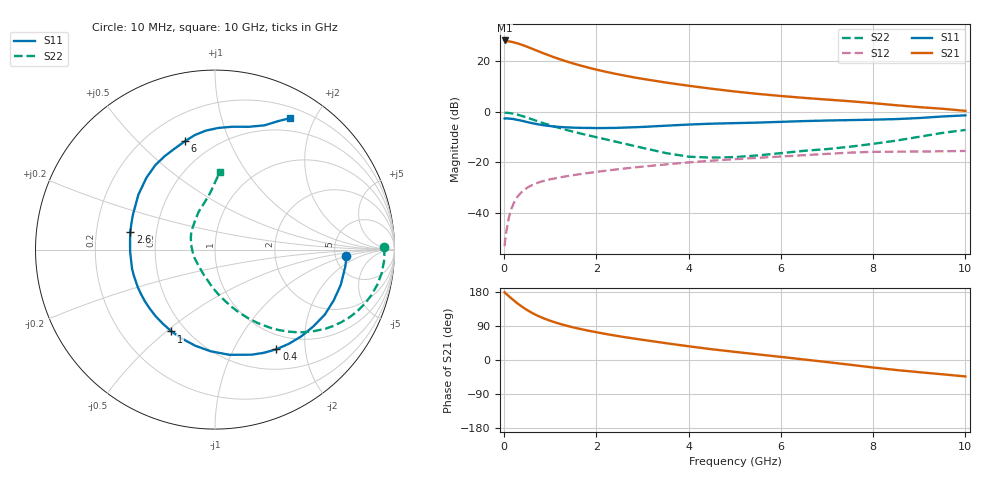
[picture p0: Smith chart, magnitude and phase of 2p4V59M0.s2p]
! (c) 2009  Infineon Technologies AG, Munich
! Infineon Technologies  Discrete & RF Semiconductors
! BFP420
! VCE =  4.5 V,  IC =  9.0 mA
! Common Emitter S-Parameters:  Nov 2009
# GHz  S  MA  R  50
!  f  S11  S21  S12  S22
! GHz  MAG  ANG  MAG  ANG  MAG  ANG  MAG  ANG
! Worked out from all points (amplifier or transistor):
!   46 points, 10 MHz to 10 GHz, reference 50 ohm
!   highest |S21| = 28.1 dB at 10 MHz (marker M1)
!   |S21| within 3 dB of that: start of sweep to 569.1 MHz
!   unconditionally stable (mu >= 1): start of sweep to 19.03 MHz; 2.469 GHz to end of sweep
!   at 300 MHz: K = 0.27, MSG = 30.1 dB, |S12| = -33.4 dB
!   at 1.7 GHz: K = 0.79, MSG = 21.3 dB, |S12| = -24.6 dB
!   at 10 GHz: K = 1.09, MAG = 6.1 dB, |S12| = -15.6 dB
!   S11 on the Smith chart (normalised r, x): 10 MHz: 6.20, -0.97; 400 MHz: 0.77, -1.50; 1 GHz: 0.42, -0.52; 2.6 GHz: 0.35, +0.09; 6 GHz: 0.35, +0.70; 10 GHz: 0.33, +1.67
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0.01  0.7282 -2.9  25.32 178.7  0.0022 4.0  0.9401 0.8
0.02  0.7335 -2.9  24.62 177.2  0.0028 31.0  0.9441 -1.4
0.1  0.7278 -15.6  24.3 168.6  0.0079 66.0  0.9377 -8.2
0.2  0.7111 -30.6  23.36 158.2  0.0149 67.6  0.9077 -16.2
0.3  0.6819 -45.1  22.05 148.4  0.0214 64.1  0.8635 -23.5
0.4  0.6522 -58.4  20.55 139.6  0.0268 60.1  0.8116 -29.9
0.5  0.6203 -70.7  18.98 131.7  0.0314 56.5  0.7574 -35.6
0.6  0.5918 -82.1  17.47 124.6  0.0352 53.3  0.7052 -40.4
0.7  0.5672 -92.4  16.06 118.4  0.0384 50.7  0.656 -44.7
0.8  0.547 -101.5  14.75 112.9  0.0412 48.6  0.6116 -48.3
1  0.5163 -118.0  12.58 103.5  0.0459 45.5  0.5349 -54.6
1.3  0.4901 -137.8  10.11 92.3  0.0519 42.7  0.4464 -62.1
1.7  0.4755 -158.5  7.902 80.6  0.0591 40.4  0.3605 -70.6
2.2  0.473 -178.4  6.116 68.8  0.0679 38.1  0.2831 -80.1
2.6  0.4822 168.1  5.145 60.6  0.0749 36.0  0.2329 -88.9
3.5  0.5255 144.3  3.747 44.5  0.0904 31.0  0.1519 -115.0
4.5  0.5763 125.2  2.819 28.4  0.1072 24.2  0.1232 -157.8
5.5  0.6052 112.1  2.232 14.8  0.1221 17.4  0.1361 167.5
6  0.6262 105.6  2.029 8.2  0.1295 14.0  0.151 153.2
7  0.6649 94.4  1.723 -5.5  0.1461 6.1  0.1815 131.2
8.5  0.7096 74.6  1.332 -26.4  0.1616 -9.3  0.2667 103.0
10  0.841 60.4  1.032 -43.4  0.1669 -19.5  0.4331 86.4
